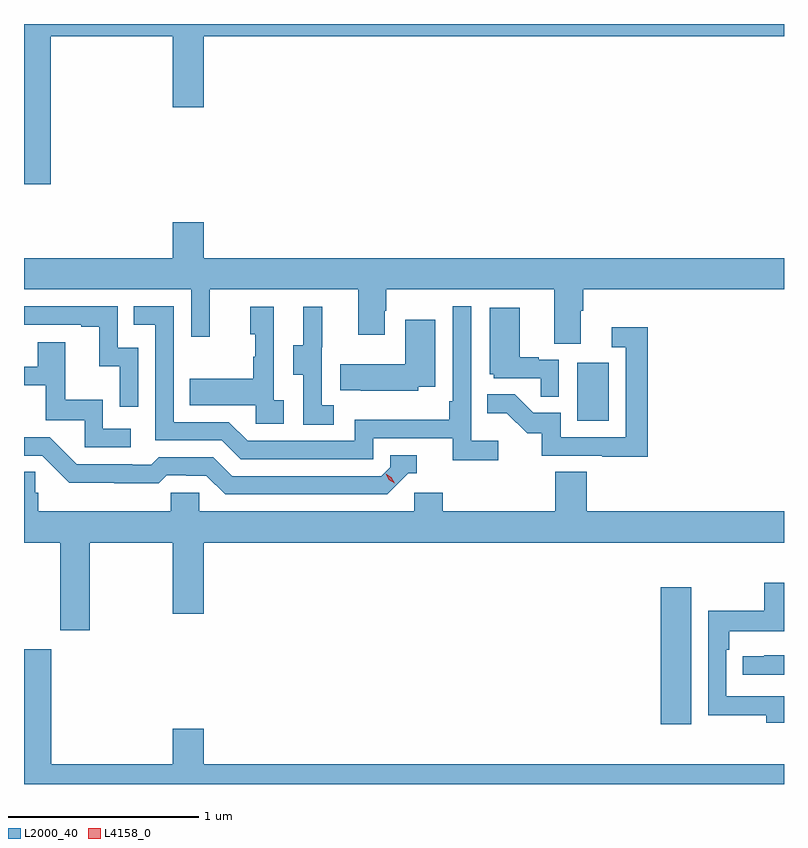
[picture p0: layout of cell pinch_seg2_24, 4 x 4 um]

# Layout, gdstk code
import gdstk
lib = gdstk.Library(unit=1e-6, precision=1e-09)
def R(c, l, rs):  # rectangles x0, y0, x1, y1
    for r in rs: c.add(gdstk.rectangle(r[:2], r[2:], *l))
def P(c, l, *ps):  # polygons
    for p in ps: c.add(gdstk.Polygon(p, *l))
L2000_40 = (2000, 40)
L4158_0 = (4158, 0)

pinch_seg2_24 = lib.new_cell('pinch_seg2_24')
R(pinch_seg2_24, L2000_40, [(1114.628,649.344,1114.789,650.065), (1114.19,650.94,1114.354,651.247)])
P(pinch_seg2_24, L2000_40, [(1111.418,652.964),(1112.06,652.964),(1112.06,652.59),(1112.224,652.59),(1112.224,652.964),(1115.277,652.964),(1115.277,653.029),(1111.277,653.029),(1111.277,652.185),(1111.418,652.185)],
  [(1114.207,651.52),(1114.22,651.52),(1114.22,651.632),(1115.277,651.632),(1115.277,651.796),(1112.224,651.796),(1112.224,651.985),(1112.06,651.985),(1112.06,651.796),(1111.277,651.796),(1111.277,651.632),(1112.157,651.632),(1112.157,651.384),(1112.255,651.384),(1112.255,651.632),(1113.035,651.632),(1113.035,651.393),(1113.175,651.393),(1113.175,651.521),(1113.183,651.521),(1113.183,651.632),(1114.067,651.632),(1114.067,651.346),(1114.207,651.346)],
  [(1113.772,650.836),(1113.63,650.836),(1113.63,651.544),(1113.534,651.544),(1113.534,651.043),(1113.514,651.043),(1113.514,650.947),(1113.018,650.947),(1113.018,650.835),(1112.454,650.835),(1112.355,650.934),(1112.064,650.934),(1112.064,651.543),(1111.855,651.543),(1111.855,651.447),(1111.968,651.447),(1111.968,650.838),(1112.318,650.838),(1112.417,650.739),(1113.114,650.739),(1113.114,650.85),(1113.533,650.85),(1113.533,650.734),(1113.772,650.734)],
  [(1111.878,651.324),(1111.77,651.324),(1111.77,651.543),(1111.277,651.543),(1111.277,651.447),(1111.577,651.447),(1111.577,651.435),(1111.673,651.435),(1111.673,651.227),(1111.782,651.227),(1111.782,651.015),(1111.878,651.015)],
  [(1112.908,651.023),(1112.844,651.023),(1112.844,651.327),(1112.846,651.327),(1112.846,651.541),(1112.747,651.541),(1112.747,651.339),(1112.693,651.339),(1112.693,651.184),(1112.748,651.184),(1112.748,650.92),(1112.908,650.92)],
  [(1112.644,651.05),(1112.592,651.05),(1112.592,651.541),(1112.468,651.541),(1112.468,651.396),(1112.494,651.396),(1112.494,651.278),(1112.484,651.278),(1112.484,651.163),(1112.149,651.163),(1112.149,651.023),(1112.496,651.023),(1112.496,650.925),(1112.644,650.925)],
  [(1114.092,651.261),(1113.986,651.261),(1113.986,651.274),(1113.886,651.274),(1113.886,651.535),(1113.728,651.535),(1113.728,651.186),(1113.75,651.186),(1113.75,651.165),(1113.997,651.165),(1113.997,651.067),(1114.092,651.067)],
  [(1113.351,651.119),(1113.442,651.119),(1113.442,651.472),(1113.284,651.472),(1113.284,651.238),(1112.941,651.238),(1112.941,651.101),(1113.049,651.101),(1113.049,651.098),(1113.351,651.098)],
  [(1114.559,651.433),(1114.371,651.433),(1114.371,651.327),(1114.443,651.327),(1114.443,650.853),(1114.101,650.853),(1114.101,650.982),(1113.957,650.982),(1113.859,651.08),(1113.715,651.08),(1113.715,650.981),(1113.819,650.981),(1113.926,650.874),(1114.003,650.874),(1114.003,650.757),(1114.321,650.757),(1114.321,650.752),(1114.559,650.752)],
  [(1111.84,650.898),(1111.692,650.898),(1111.692,651.052),(1111.493,651.052),(1111.493,651.355),(1111.349,651.355),(1111.349,651.225),(1111.277,651.225),(1111.277,651.129),(1111.391,651.129),(1111.391,650.943),(1111.596,650.943),(1111.596,650.802),(1111.84,650.802)],
  [(1113.3,650.664),(1113.343,650.664),(1113.343,650.76),(1113.204,650.76),(1113.204,650.697),(1113.156,650.649),(1112.373,650.649),(1112.274,650.748),(1111.985,650.748),(1111.946,650.709),(1111.847,650.709),(1111.847,650.712),(1111.554,650.712),(1111.413,650.853),(1111.277,650.853),(1111.277,650.757),(1111.374,650.757),(1111.516,650.615),(1111.752,650.615),(1111.752,650.613),(1111.985,650.613),(1112.027,650.655),(1112.13,650.655),(1112.13,650.652),(1112.237,650.652),(1112.336,650.553),(1113.189,650.553)],
  [(1111.623,650.3),(1112.06,650.3),(1112.06,649.926),(1112.224,649.926),(1112.224,650.3),(1115.277,650.3),(1115.277,650.464),(1114.238,650.464),(1114.238,650.672),(1114.073,650.672),(1114.073,650.464),(1113.482,650.464),(1113.482,650.562),(1113.33,650.562),(1113.33,650.464),(1112.199,650.464),(1112.199,650.562),(1112.049,650.562),(1112.049,650.464),(1111.352,650.464),(1111.352,650.562),(1111.337,650.562),(1111.337,650.672),(1111.277,650.672),(1111.277,650.3),(1111.468,650.3),(1111.468,649.839),(1111.623,649.839)],
  [(1115.277,649.491),(1114.974,649.491),(1114.974,649.736),(1114.988,649.736),(1114.988,649.832),(1115.277,649.832),(1115.277,650.088),(1115.172,650.088),(1115.172,649.942),(1114.878,649.942),(1114.878,649.39),(1115.183,649.39),(1115.183,649.352),(1115.277,649.352)],
  [(1115.277,649.132),(1112.224,649.132),(1112.224,649.321),(1112.06,649.321),(1112.06,649.132),(1111.42,649.132),(1111.42,649.738),(1111.277,649.738),(1111.277,649.029),(1115.277,649.029)],
  [(1115.277,649.706),(1115.173,649.706),(1115.173,649.701),(1115.061,649.701),(1115.061,649.605),(1115.277,649.605)])
P(pinch_seg2_24, L4158_0, [(1113.227,650.611),(1113.196,650.63),(1113.18,650.663),(1113.18,650.663),(1113.181,650.663),(1113.211,650.644),(1113.227,650.611),(1113.227,650.611)])

lib.write_gds('pinch_seg2_24.gds')
